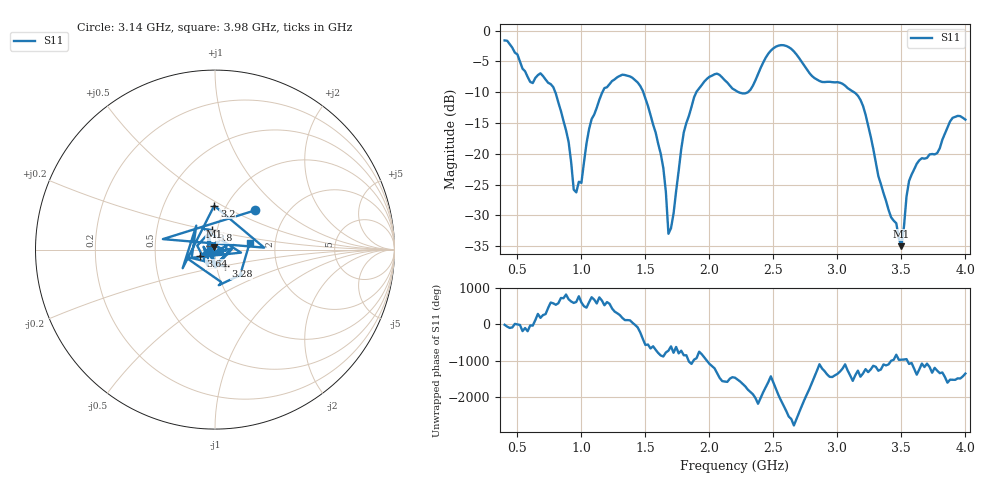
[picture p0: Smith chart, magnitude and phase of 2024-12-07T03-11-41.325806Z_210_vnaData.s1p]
!Created with skrf (http://scikit-rf.org).
# Hz S RI R 50.0
!freq ReS11 ImS11
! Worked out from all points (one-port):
!   181 points, 400 MHz to 4 GHz, reference 50 ohm
!   lowest |S11| = -35.0 dB at 3.5 GHz (marker M1), VSWR 1.04, Z = 49.4 + j1.64 ohm
!   |S11| at or under -10 dB: 796 MHz to 1.164 GHz (368.1 MHz wide, 37.6 % of centre); 1.484 GHz to 1.898 GHz (414.5 MHz wide, 24.5 % of centre); 3.13 GHz to end of sweep (the widest 3 of 4)
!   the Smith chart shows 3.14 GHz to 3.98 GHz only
!   S11 on the Smith chart (normalised r, x): 3.14 GHz: 1.38, +0.67; 3.2 GHz: 0.88, +0.46; 3.28 GHz: 1.10, -0.21; 3.64 GHz: 0.85, -0.06; 3.8 GHz: 0.94, +0.21; 3.98 GHz: 1.47, +0.11
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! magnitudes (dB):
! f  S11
! 400 MHz  -1.6
! 600 MHz  -8.3
! 780 MHz  -9.2
! 860 MHz  -14.7
! 960 MHz  -26.3
! 1.08 GHz  -14.4
! 1.3 GHz  -7.4
! 1.52 GHz  -12.2
! 1.64 GHz  -22.3
! 1.68 GHz  -33.0
! 1.76 GHz  -22.7
! 1.8 GHz  -16.5
! 1.9 GHz  -9.9
! 2.06 GHz  -7.0
! 2.2 GHz  -9.7
! 2.32 GHz  -9.6
! 2.5 GHz  -2.9
! 2.66 GHz  -3.4
! 3.1 GHz  -9.6
! 3.14 GHz  -10.1
! 3.2 GHz  -12.2
! 3.28 GHz  -19.2
! 3.5 GHz  -35.0
! 3.56 GHz  -24.4
! 3.64 GHz  -21.1
! 3.8 GHz  -19.1
! 3.98 GHz  -14.2
! 4 GHz  -14.4
